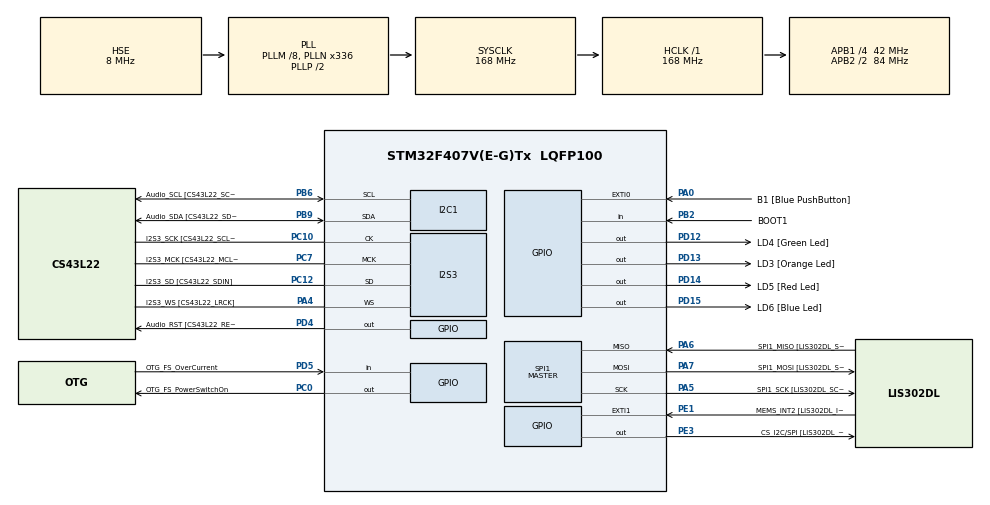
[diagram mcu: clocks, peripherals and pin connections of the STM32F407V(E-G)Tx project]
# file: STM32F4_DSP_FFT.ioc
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Dma.Request0=SPI3_TX
Dma.SPI3_TX.0.Direction=DMA_MEMORY_TO_PERIPH
Dma.SPI3_TX.0.FIFOMode=DMA_FIFOMODE_DISABLE
Dma.SPI3_TX.0.Instance=DMA1_Stream5
Dma.SPI3_TX.0.MemDataAlignment=DMA_MDATAALIGN_HALFWORD
Dma.SPI3_TX.0.MemInc=DMA_MINC_ENABLE
Dma.SPI3_TX.0.Mode=DMA_NORMAL
Dma.SPI3_TX.0.PeriphDataAlignment=DMA_PDATAALIGN_HALFWORD
Dma.SPI3_TX.0.PeriphInc=DMA_PINC_DISABLE
Dma.SPI3_TX.0.Priority=DMA_PRIORITY_HIGH
I2S3.AudioFreq-Half_Duplex_Master=I2S_AUDIOFREQ_96K
I2S3.ErrorAudioFreq=-2.34 %
I2S3.ErrorAudioFreq-Half_Duplex_Master=0.8 %
I2S3.FullDuplexMode=I2S_FULLDUPLEXMODE_DISABLE
I2S3.Instance=SPI$Index
I2S3.RealAudioFreq=93.75 KHz
I2S3.RealAudioFreq-Half_Duplex_Master=96.774 KHz
I2S3.VirtualMode=I2S_MODE_MASTER
Mcu.Family=STM32F4
Mcu.Name=STM32F407V(E-G)Tx
Mcu.Package=LQFP100
NVIC.DMA1_Stream5_IRQn=true\:0\:0\:false\:false\:true\:false\:true
NVIC.PriorityGroup=NVIC_PRIORITYGROUP_0
PA0-WKUP.GPIO_Label=B1 [Blue PushButton]
PA0-WKUP.GPIO_ModeDefaultEXTI=GPIO_MODE_EVT_RISING
PA0-WKUP.GPIO_PuPd=GPIO_NOPULL
PA0-WKUP.Signal=GPXTI0
PA10.GPIO_Label=OTG_FS_ID
PA10.GPIO_Mode=GPIO_MODE_AF_PP
PA10.GPIO_PuPd=GPIO_NOPULL
PA10.GPIO_Speed=GPIO_SPEED_FREQ_LOW
PA10.Signal=USB_OTG_FS_ID
PA11.GPIO_Label=OTG_FS_DM
PA11.GPIO_Mode=GPIO_MODE_AF_PP
PA11.GPIO_PuPd=GPIO_NOPULL
PA11.GPIO_Speed=GPIO_SPEED_FREQ_LOW
PA11.Signal=USB_OTG_FS_DM
PA12.GPIO_Label=OTG_FS_DP
PA12.GPIO_Mode=GPIO_MODE_AF_PP
PA12.GPIO_PuPd=GPIO_NOPULL
PA12.GPIO_Speed=GPIO_SPEED_FREQ_LOW
PA12.Signal=USB_OTG_FS_DP
PA13.GPIO_Label=SWDIO
PA13.Mode=Serial_Wire
PA13.Signal=SYS_JTMS-SWDIO
PA14.GPIO_Label=SWCLK
PA14.Mode=Serial_Wire
PA14.Signal=SYS_JTCK-SWCLK
PA4.GPIO_Label=I2S3_WS [CS43L22_LRCK]
PA4.GPIO_Mode=GPIO_MODE_AF_PP
PA4.GPIO_PuPd=GPIO_NOPULL
PA4.GPIO_Speed=GPIO_SPEED_FREQ_LOW
PA4.Mode=Half_Duplex_Master
PA4.Signal=I2S3_WS
PA5.GPIO_Label=SPI1_SCK [LIS302DL_SCL/SPC]
PA5.GPIO_Mode=GPIO_MODE_AF_PP
PA5.GPIO_PuPd=GPIO_NOPULL
PA5.GPIO_Speed=GPIO_SPEED_FREQ_LOW
PA5.Mode=Full_Duplex_Master
PA5.Signal=SPI1_SCK
PA6.GPIO_Label=SPI1_MISO [LIS302DL_SDO]
PA6.GPIO_Mode=GPIO_MODE_AF_PP
PA6.GPIO_PuPd=GPIO_NOPULL
PA6.GPIO_Speed=GPIO_SPEED_FREQ_LOW
PA6.Mode=Full_Duplex_Master
PA6.Signal=SPI1_MISO
PA7.GPIO_Label=SPI1_MOSI [LIS302DL_SDA/SDI/SDO]
PA7.GPIO_Mode=GPIO_MODE_AF_PP
PA7.GPIO_PuPd=GPIO_NOPULL
PA7.GPIO_Speed=GPIO_SPEED_FREQ_LOW
PA7.Mode=Full_Duplex_Master
PA7.Signal=SPI1_MOSI
PA9.GPIO_Label=VBUS_FS
PA9.GPIO_Mode=GPIO_MODE_INPUT
PA9.GPIO_PuPd=GPIO_NOPULL
PA9.Signal=USB_OTG_FS_VBUS
PB10.GPIO_Label=CLK_IN [MP45DT02_CLK]
PB10.GPIO_Mode=GPIO_MODE_AF_PP
PB10.GPIO_PuPd=GPIO_NOPULL
PB10.GPIO_Speed=GPIO_SPEED_FREQ_LOW
PB10.Signal=I2S2_CK
PB2.GPIO_Label=BOOT1
PB2.GPIO_Mode=GPIO_MODE_INPUT
PB2.GPIO_PuPd=GPIO_NOPULL
PB2.Signal=GPIO_Input
PB3.GPIO_Label=SWO
PB3.Signal=SYS_JTDO-SWO
PB6.GPIO_Label=Audio_SCL [CS43L22_SCL]
PB6.GPIO_Mode=GPIO_MODE_AF_OD
PB6.GPIO_Pu=GPIO_PULLUP
PB6.GPIO_PuPd=GPIO_NOPULL
PB6.GPIO_Speed=GPIO_SPEED_FREQ_LOW
PB6.Mode=I2C
PB6.Signal=I2C1_SCL
PB9.GPIO_Label=Audio_SDA [CS43L22_SDA]
PB9.GPIO_Mode=GPIO_MODE_AF_OD
PB9.GPIO_Pu=GPIO_PULLUP
PB9.GPIO_PuPd=GPIO_NOPULL
PB9.GPIO_Speed=GPIO_SPEED_FREQ_LOW
PB9.Mode=I2C
PB9.Signal=I2C1_SDA
PC0.GPIO_Label=OTG_FS_PowerSwitchOn
PC0.GPIO_PuPd=GPIO_NOPULL
PC0.GPIO_Speed=GPIO_SPEED_FREQ_LOW
PC0.PinState=GPIO_PIN_SET
PC0.Signal=GPIO_Output
PC10.GPIO_Label=I2S3_SCK [CS43L22_SCLK]
PC10.GPIO_Mode=GPIO_MODE_AF_PP
PC10.GPIO_PuPd=GPIO_NOPULL
PC10.GPIO_Speed=GPIO_SPEED_FREQ_LOW
PC10.Mode=Half_Duplex_Master
PC10.Signal=I2S3_CK
PC12.GPIO_Label=I2S3_SD [CS43L22_SDIN]
PC12.GPIO_Mode=GPIO_MODE_AF_PP
PC12.GPIO_PuPd=GPIO_NOPULL
PC12.GPIO_Speed=GPIO_SPEED_FREQ_LOW
PC12.Mode=Half_Duplex_Master
PC12.Signal=I2S3_SD
PC14-OSC32_IN.GPIO_Label=PC14-OSC32_IN
PC14-OSC32_IN.Mode=LSE-External-Oscillator
PC14-OSC32_IN.Signal=RCC_OSC32_IN
PC15-OSC32_OUT.GPIO_Label=PC15-OSC32_OUT
PC15-OSC32_OUT.Mode=LSE-External-Oscillator
PC15-OSC32_OUT.Signal=RCC_OSC32_OUT
PC3.GPIO_Label=PDM_OUT [MP45DT02_DOUT]
PC3.GPIO_Mode=GPIO_MODE_AF_PP
PC3.GPIO_PuPd=GPIO_NOPULL
PC3.GPIO_Speed=GPIO_SPEED_FREQ_LOW
PC3.Signal=I2S2_SD
PC7.GPIO_Label=I2S3_MCK [CS43L22_MCLK]
PC7.GPIO_Mode=GPIO_MODE_AF_PP
PC7.GPIO_PuPd=GPIO_NOPULL
PC7.GPIO_Speed=GPIO_SPEED_FREQ_LOW
PC7.Mode=Master_Clock_Activated
PC7.Signal=I2S3_MCK
PD12.GPIO_Label=LD4 [Green Led]
PD12.GPIO_PuPd=GPIO_NOPULL
PD12.GPIO_Speed=GPIO_SPEED_FREQ_LOW
PD12.Signal=GPIO_Output
PD13.GPIO_Label=LD3 [Orange Led]
PD13.GPIO_PuPd=GPIO_NOPULL
PD13.GPIO_Speed=GPIO_SPEED_FREQ_LOW
PD13.Signal=GPIO_Output
PD14.GPIO_Label=LD5 [Red Led]
PD14.GPIO_PuPd=GPIO_NOPULL
PD14.GPIO_Speed=GPIO_SPEED_FREQ_LOW
PD14.Signal=GPIO_Output
PD15.GPIO_Label=LD6 [Blue Led]
PD15.GPIO_PuPd=GPIO_NOPULL
PD15.GPIO_Speed=GPIO_SPEED_FREQ_LOW
PD15.Signal=GPIO_Output
PD4.GPIO_Label=Audio_RST [CS43L22_RESET]
PD4.GPIO_PuPd=GPIO_NOPULL
PD4.GPIO_Speed=GPIO_SPEED_FREQ_LOW
PD4.Signal=GPIO_Output
PD5.GPIO_Label=OTG_FS_OverCurrent
PD5.GPIO_Mode=GPIO_MODE_INPUT
PD5.GPIO_PuPd=GPIO_NOPULL
PD5.Signal=GPIO_Input
PE1.GPIO_Label=MEMS_INT2 [LIS302DL_INT2]
PE1.GPIO_ModeDefaultEXTI=GPIO_MODE_EVT_RISING
PE1.GPIO_PuPd=GPIO_NOPULL
PE1.Signal=GPXTI1
PE3.GPIO_Label=CS_I2C/SPI [LIS302DL_CS_I2C/SPI]
PE3.GPIO_PuPd=GPIO_NOPULL
PE3.GPIO_Speed=GPIO_SPEED_FREQ_LOW
PE3.Signal=GPIO_Output
PH0-OSC_IN.GPIO_Label=PH0-OSC_IN
PH0-OSC_IN.Mode=HSE-External-Oscillator
PH0-OSC_IN.Signal=RCC_OSC_IN
PH1-OSC_OUT.GPIO_Label=PH1-OSC_OUT
PH1-OSC_OUT.Mode=HSE-External-Oscillator
PH1-OSC_OUT.Signal=RCC_OSC_OUT
ProjectManager.HeapSize=0x200
ProjectManager.StackSize=0x400
ProjectManager.TargetToolchain=STM32CubeIDE
RCC.48MHZClocksFreq_Value=48000000
RCC.AHBFreq_Value=168000000
RCC.APB1CLKDivider=RCC_HCLK_DIV4
RCC.APB1Freq_Value=42000000
RCC.APB1TimFreq_Value=84000000
RCC.APB2CLKDivider=RCC_HCLK_DIV2
RCC.APB2Freq_Value=84000000
RCC.APB2TimFreq_Value=168000000
RCC.CortexFreq_Value=168000000
RCC.HCLKFreq_Value=168000000
RCC.HSE_VALUE=8000000
RCC.HSI_VALUE=16000000
RCC.PLLM=8
RCC.PLLN=336
RCC.PLLQ=7
RCC.PLLSourceVirtual=RCC_PLLSOURCE_HSE
RCC.SYSCLKFreq_VALUE=168000000
RCC.SYSCLKSource=RCC_SYSCLKSOURCE_PLLCLK
RCC.VCOOutputFreq_Value=336000000
SPI1.BaudRatePrescaler-Full_Duplex_Master=SPI_BAUDRATEPRESCALER_2
SPI1.CalculateBaudRate-Full_Duplex_Master=42.0 MBits/s
SPI1.Direction=SPI_DIRECTION_2LINES
SPI1.Mode=SPI_MODE_MASTER
SPI1.Mode-Full_Duplex_Master=SPI_MODE_MASTER
SPI1.VirtualType=VM_MASTER
board=STM32F407G-DISC1

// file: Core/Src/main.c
/* USER CODE BEGIN Header */
/**
  ******************************************************************************
  * @file           : main.c
  * @brief          : Main program body
  ******************************************************************************
  * @attention
  *
  * <h2><center>&copy; Copyright (c) 2021 STMicroelectronics.
  * All rights reserved.</center></h2>
  *
  * This software component is licensed by ST under Ultimate Liberty license
  * SLA0044, the "License"; You may not use this file except in compliance with
  * the License. You may obtain a copy of the License at:
  *                             www.st.com/SLA0044
  *
  ******************************************************************************
  */
/* USER CODE END Header */
#include "main.h"

/* USER CODE BEGIN Includes */
#include "arm_math.h"
#include "stm32f4_discovery_audio.h"

/* USER CODE END Includes */

/* USER CODE BEGIN PD */
#define SAMPLING_FREQ 16000		//BSP_audio_out sampling frequency
#define SAMPLES_QTY 128			//Signal buffer for one channel

#define FREQUENCY 1000.0		//Frequency to generate

/* USER CODE END PD */

I2C_HandleTypeDef hi2c1;

I2S_HandleTypeDef hi2s3;
DMA_HandleTypeDef hdma_spi3_tx;

SPI_HandleTypeDef hspi1;

/* USER CODE BEGIN PV */
static int16_t OutputBuffer[SAMPLES_QTY*2];	//Output, left+right channels
float32_t	InputArray[SAMPLES_QTY];		//Input array for generated signal

arm_rfft_fast_instance_f32 rFFT_S;			//Instance structure for the floating-point RFFT/RIFFT function
float32_t 	FFTOutputArray[SAMPLES_QTY];	//FFT array
float32_t	FFTMagnitude[SAMPLES_QTY/2];	//FFT magnitude array
float32_t	FFTRePart[SAMPLES_QTY/2];
float32_t	FFTImPart[SAMPLES_QTY/2];
float32_t	FFTPhase[SAMPLES_QTY/2];
float32_t	FFTPhase_masked[SAMPLES_QTY/2];
float32_t	OutputSignalArray[SAMPLES_QTY];	//Signal array after inverse FFT

float32_t generateChirp(float32_t w1, float32_t w2, float32_t A, float32_t M, float32_t time)
{
	float32_t res;
    res=A*cos(w1*time+(w2-w1)*time*time/(2*M));
    return res;
}

void countInit(void) {
    // Configure the DWT cycle counter
    if (!(CoreDebug->DEMCR & CoreDebug_DEMCR_TRCENA_Msk)) {
        CoreDebug->DEMCR |= CoreDebug_DEMCR_TRCENA_Msk;
        DWT->CYCCNT = 0;
    }
}

/* USER CODE END PV */

void SystemClock_Config(void);
static void MX_GPIO_Init(void);
static void MX_I2C1_Init(void);
static void MX_I2S3_Init(void);
static void MX_DMA_Init(void);
static void MX_SPI1_Init(void);

/* USER CODE BEGIN PFP */
void FFT_calculation(void);
void FFT_filtering(void);

/* USER CODE END PFP */

int main(void)
{

  /* MCU Configuration--------------------------------------------------------*/

  /* Reset of all peripherals, Initializes the Flash interface and the Systick. */
  HAL_Init();

  /* Configure the system clock */
  SystemClock_Config();

  /* Initialize all configured peripherals */
  MX_GPIO_Init();
  MX_I2C1_Init();
  MX_I2S3_Init();
  MX_DMA_Init();
  MX_SPI1_Init();
  /* USER CODE BEGIN 2 */

  		if(BSP_AUDIO_OUT_Init(OUTPUT_DEVICE_AUTO, 80, SAMPLING_FREQ) != AUDIO_OK)
        {
          	Error_Handler();
        }

  		/*** Test Signal generation ***/
  		for(int index = 0; index < SAMPLES_QTY; index++)
  		{
//  		  	//Test signal 1000 Hz + 3000 Hz + 5000 Hz
//  			InputArray[index] = ( 20000*sin((FREQUENCY/SAMPLING_FREQ)*2*PI*index)
//  			  + 10000*sin(3*(FREQUENCY/SAMPLING_FREQ)*2*PI*index)
//  			  + 30000*sin(5*(FREQUENCY/SAMPLING_FREQ)*2*PI*index)
//  			);

  			float32_t w1 = (FREQUENCY/SAMPLING_FREQ)*2*PI;
  			float32_t w2 = 3*(FREQUENCY/SAMPLING_FREQ)*2*PI;
  			double M = SAMPLES_QTY;
  				//float32_t generateChirp(float32_t w1, float32_t w2, float32_t A, float32_t M, float32_t time)
  			InputArray[index] = generateChirp(w1, w2, 3000, M, index);

  		}

  		/*** FFT related functions ***/
  		FFT_calculation();
  		//FFT_filtering();

  		/*** Fill Output Buffer ***/
  		for(int i = 0; i < SAMPLES_QTY; i++)
  		{
  			OutputBuffer[i<<1] = (int16_t)InputArray[i];
  			OutputBuffer[(i<<1)+1] = (int16_t)InputArray[i];
  		}

  		/*** Start Audio play ***/
  		BSP_AUDIO_OUT_Play((uint16_t*)&OutputBuffer[0], SAMPLES_QTY*2);

  /* USER CODE END 2 */

  /* Infinite loop */
  /* USER CODE BEGIN WHILE */
  while (1)
  {
	  HAL_GPIO_TogglePin(LD4_GPIO_Port, LD4_Pin);
	  HAL_Delay(250);
    /* USER CODE END WHILE */

  }
}

void SystemClock_Config(void)
{
  RCC_OscInitTypeDef RCC_OscInitStruct = {0};
  RCC_ClkInitTypeDef RCC_ClkInitStruct = {0};

  /** Configure the main internal regulator output voltage
  */
  __HAL_RCC_PWR_CLK_ENABLE();
  __HAL_PWR_VOLTAGESCALING_CONFIG(PWR_REGULATOR_VOLTAGE_SCALE1);
  /** Initializes the RCC Oscillators according to the specified parameters
  * in the RCC_OscInitTypeDef structure.
  */
  RCC_OscInitStruct.OscillatorType = RCC_OSCILLATORTYPE_HSE;
  RCC_OscInitStruct.HSEState = RCC_HSE_ON;
  RCC_OscInitStruct.PLL.PLLState = RCC_PLL_ON;
  RCC_OscInitStruct.PLL.PLLSource = RCC_PLLSOURCE_HSE;
  RCC_OscInitStruct.PLL.PLLM = 8;
  RCC_OscInitStruct.PLL.PLLN = 336;
  RCC_OscInitStruct.PLL.PLLP = RCC_PLLP_DIV2;
  RCC_OscInitStruct.PLL.PLLQ = 7;
  if (HAL_RCC_OscConfig(&RCC_OscInitStruct) != HAL_OK)
  {
    Error_Handler();
  }
  /** Initializes the CPU, AHB and APB buses clocks
  */
  RCC_ClkInitStruct.ClockType = RCC_CLOCKTYPE_HCLK|RCC_CLOCKTYPE_SYSCLK
                              |RCC_CLOCKTYPE_PCLK1|RCC_CLOCKTYPE_PCLK2;
  RCC_ClkInitStruct.SYSCLKSource = RCC_SYSCLKSOURCE_PLLCLK;
  RCC_ClkInitStruct.AHBCLKDivider = RCC_SYSCLK_DIV1;
  RCC_ClkInitStruct.APB1CLKDivider = RCC_HCLK_DIV4;
  RCC_ClkInitStruct.APB2CLKDivider = RCC_HCLK_DIV2;

  if (HAL_RCC_ClockConfig(&RCC_ClkInitStruct, FLASH_LATENCY_5) != HAL_OK)
  {
    Error_Handler();
  }
}

static void MX_I2C1_Init(void)
{

  hi2c1.Instance = I2C1;
  hi2c1.Init.ClockSpeed = 100000;
  hi2c1.Init.DutyCycle = I2C_DUTYCYCLE_2;
  hi2c1.Init.OwnAddress1 = 0;
  hi2c1.Init.AddressingMode = I2C_ADDRESSINGMODE_7BIT;
  hi2c1.Init.DualAddressMode = I2C_DUALADDRESS_DISABLE;
  hi2c1.Init.OwnAddress2 = 0;
  hi2c1.Init.GeneralCallMode = I2C_GENERALCALL_DISABLE;
  hi2c1.Init.NoStretchMode = I2C_NOSTRETCH_DISABLE;
  if (HAL_I2C_Init(&hi2c1) != HAL_OK)
  {
    Error_Handler();
  }

}

static void MX_I2S3_Init(void)
{

  hi2s3.Instance = SPI3;
  hi2s3.Init.Mode = I2S_MODE_MASTER_TX;
  hi2s3.Init.Standard = I2S_STANDARD_PHILIPS;
  hi2s3.Init.DataFormat = I2S_DATAFORMAT_16B;
  hi2s3.Init.MCLKOutput = I2S_MCLKOUTPUT_ENABLE;
  hi2s3.Init.AudioFreq = I2S_AUDIOFREQ_96K;
  hi2s3.Init.CPOL = I2S_CPOL_LOW;
  hi2s3.Init.ClockSource = I2S_CLOCK_PLL;
  hi2s3.Init.FullDuplexMode = I2S_FULLDUPLEXMODE_DISABLE;
  if (HAL_I2S_Init(&hi2s3) != HAL_OK)
  {
    Error_Handler();
  }

}

static void MX_SPI1_Init(void)
{

  /* SPI1 parameter configuration*/
  hspi1.Instance = SPI1;
  hspi1.Init.Mode = SPI_MODE_MASTER;
  hspi1.Init.Direction = SPI_DIRECTION_2LINES;
  hspi1.Init.DataSize = SPI_DATASIZE_8BIT;
  hspi1.Init.CLKPolarity = SPI_POLARITY_LOW;
  hspi1.Init.CLKPhase = SPI_PHASE_1EDGE;
  hspi1.Init.NSS = SPI_NSS_SOFT;
  hspi1.Init.BaudRatePrescaler = SPI_BAUDRATEPRESCALER_2;
  hspi1.Init.FirstBit = SPI_FIRSTBIT_MSB;
  hspi1.Init.TIMode = SPI_TIMODE_DISABLE;
  hspi1.Init.CRCCalculation = SPI_CRCCALCULATION_DISABLE;
  hspi1.Init.CRCPolynomial = 10;
  if (HAL_SPI_Init(&hspi1) != HAL_OK)
  {
    Error_Handler();
  }

}

static void MX_DMA_Init(void)
{

  /* DMA controller clock enable */
  __HAL_RCC_DMA1_CLK_ENABLE();

  /* DMA interrupt init */
  /* DMA1_Stream5_IRQn interrupt configuration */
  HAL_NVIC_SetPriority(DMA1_Stream5_IRQn, 0, 0);
  HAL_NVIC_EnableIRQ(DMA1_Stream5_IRQn);

}

static void MX_GPIO_Init(void)
{
  GPIO_InitTypeDef GPIO_InitStruct = {0};

  /* GPIO Ports Clock Enable */
  __HAL_RCC_GPIOE_CLK_ENABLE();
  __HAL_RCC_GPIOC_CLK_ENABLE();
  __HAL_RCC_GPIOH_CLK_ENABLE();
  __HAL_RCC_GPIOA_CLK_ENABLE();
  __HAL_RCC_GPIOB_CLK_ENABLE();
  __HAL_RCC_GPIOD_CLK_ENABLE();

  /*Configure GPIO pin Output Level */
  HAL_GPIO_WritePin(CS_I2C_SPI_GPIO_Port, CS_I2C_SPI_Pin, GPIO_PIN_RESET);

  /*Configure GPIO pin Output Level */
  HAL_GPIO_WritePin(OTG_FS_PowerSwitchOn_GPIO_Port, OTG_FS_PowerSwitchOn_Pin, GPIO_PIN_SET);

  /*Configure GPIO pin Output Level */
  HAL_GPIO_WritePin(GPIOD, LD4_Pin|LD3_Pin|LD5_Pin|LD6_Pin
                          |Audio_RST_Pin, GPIO_PIN_RESET);

  /*Configure GPIO pin : CS_I2C_SPI_Pin */
  GPIO_InitStruct.Pin = CS_I2C_SPI_Pin;
  GPIO_InitStruct.Mode = GPIO_MODE_OUTPUT_PP;
  GPIO_InitStruct.Pull = GPIO_NOPULL;
  GPIO_InitStruct.Speed = GPIO_SPEED_FREQ_LOW;
  HAL_GPIO_Init(CS_I2C_SPI_GPIO_Port, &GPIO_InitStruct);

  /*Configure GPIO pin : OTG_FS_PowerSwitchOn_Pin */
  GPIO_InitStruct.Pin = OTG_FS_PowerSwitchOn_Pin;
  GPIO_InitStruct.Mode = GPIO_MODE_OUTPUT_PP;
  GPIO_InitStruct.Pull = GPIO_NOPULL;
  GPIO_InitStruct.Speed = GPIO_SPEED_FREQ_LOW;
  HAL_GPIO_Init(OTG_FS_PowerSwitchOn_GPIO_Port, &GPIO_InitStruct);

  /*Configure GPIO pin : PDM_OUT_Pin */
  GPIO_InitStruct.Pin = PDM_OUT_Pin;
  GPIO_InitStruct.Mode = GPIO_MODE_AF_PP;
  GPIO_InitStruct.Pull = GPIO_NOPULL;
  GPIO_InitStruct.Speed = GPIO_SPEED_FREQ_LOW;
  GPIO_InitStruct.Alternate = GPIO_AF5_SPI2;
  HAL_GPIO_Init(PDM_OUT_GPIO_Port, &GPIO_InitStruct);

  /*Configure GPIO pin : B1_Pin */
  GPIO_InitStruct.Pin = B1_Pin;
  GPIO_InitStruct.Mode = GPIO_MODE_EVT_RISING;
  GPIO_InitStruct.Pull = GPIO_NOPULL;
  HAL_GPIO_Init(B1_GPIO_Port, &GPIO_InitStruct);

  /*Configure GPIO pin : BOOT1_Pin */
  GPIO_InitStruct.Pin = BOOT1_Pin;
  GPIO_InitStruct.Mode = GPIO_MODE_INPUT;
  GPIO_InitStruct.Pull = GPIO_NOPULL;
  HAL_GPIO_Init(BOOT1_GPIO_Port, &GPIO_InitStruct);

  /*Configure GPIO pin : CLK_IN_Pin */
  GPIO_InitStruct.Pin = CLK_IN_Pin;
  GPIO_InitStruct.Mode = GPIO_MODE_AF_PP;
  GPIO_InitStruct.Pull = GPIO_NOPULL;
  GPIO_InitStruct.Speed = GPIO_SPEED_FREQ_LOW;
  GPIO_InitStruct.Alternate = GPIO_AF5_SPI2;
  HAL_GPIO_Init(CLK_IN_GPIO_Port, &GPIO_InitStruct);

  /*Configure GPIO pins : LD4_Pin LD3_Pin LD5_Pin LD6_Pin
                           Audio_RST_Pin */
  GPIO_InitStruct.Pin = LD4_Pin|LD3_Pin|LD5_Pin|LD6_Pin
                          |Audio_RST_Pin;
  GPIO_InitStruct.Mode = GPIO_MODE_OUTPUT_PP;
  GPIO_InitStruct.Pull = GPIO_NOPULL;
  GPIO_InitStruct.Speed = GPIO_SPEED_FREQ_LOW;
  HAL_GPIO_Init(GPIOD, &GPIO_InitStruct);

  /*Configure GPIO pin : VBUS_FS_Pin */
  GPIO_InitStruct.Pin = VBUS_FS_Pin;
  GPIO_InitStruct.Mode = GPIO_MODE_INPUT;
  GPIO_InitStruct.Pull = GPIO_NOPULL;
  HAL_GPIO_Init(VBUS_FS_GPIO_Port, &GPIO_InitStruct);

  /*Configure GPIO pins : OTG_FS_ID_Pin OTG_FS_DM_Pin OTG_FS_DP_Pin */
  GPIO_InitStruct.Pin = OTG_FS_ID_Pin|OTG_FS_DM_Pin|OTG_FS_DP_Pin;
  GPIO_InitStruct.Mode = GPIO_MODE_AF_PP;
  GPIO_InitStruct.Pull = GPIO_NOPULL;
  GPIO_InitStruct.Speed = GPIO_SPEED_FREQ_LOW;
  GPIO_InitStruct.Alternate = GPIO_AF10_OTG_FS;
  HAL_GPIO_Init(GPIOA, &GPIO_InitStruct);

  /*Configure GPIO pin : OTG_FS_OverCurrent_Pin */
  GPIO_InitStruct.Pin = OTG_FS_OverCurrent_Pin;
  GPIO_InitStruct.Mode = GPIO_MODE_INPUT;
  GPIO_InitStruct.Pull = GPIO_NOPULL;
  HAL_GPIO_Init(OTG_FS_OverCurrent_GPIO_Port, &GPIO_InitStruct);

  /*Configure GPIO pin : MEMS_INT2_Pin */
  GPIO_InitStruct.Pin = MEMS_INT2_Pin;
  GPIO_InitStruct.Mode = GPIO_MODE_EVT_RISING;
  GPIO_InitStruct.Pull = GPIO_NOPULL;
  HAL_GPIO_Init(MEMS_INT2_GPIO_Port, &GPIO_InitStruct);

}

/* USER CODE BEGIN 4 */

void FFT_calculation(void)
{
	float32_t FFTMaxValue, threshold;
	uint32_t MaxIndex;

	//rFFT initialization. Supported FFT Lengths are 32, 64, 128, 256, 512, 1024, 2048, 4096.
	arm_rfft_fast_init_f32(&rFFT_S, SAMPLES_QTY);

	//rFFT process. 0 = RFFT, 1 = RIFFT
	arm_rfft_fast_f32(&rFFT_S, InputArray, FFTOutputArray, 0);	//direct FFT calculation
	FFTOutputArray[0] = 0; 										//DC

	//Calculate the Magnitude
	arm_cmplx_mag_f32(FFTOutputArray, FFTMagnitude, SAMPLES_QTY/2);

	//Phase calculation
	for(int i=0; i<SAMPLES_QTY/2; i++)
	{
		FFTRePart[i] = FFTOutputArray[2*i];
		FFTImPart[i] = FFTOutputArray[(2*i)+1];
		FFTPhase[i] = (atan(FFTImPart[i]/FFTRePart[i]))*180/PI;
	}

	//Find max value
	arm_max_f32(&FFTMagnitude, SAMPLES_QTY/2, &FFTMaxValue, &MaxIndex);

	//Mask out small values
	threshold = FFTMaxValue / 1000;
	for(int i=0; i<SAMPLES_QTY/2; i++)
	{
		if(fabs(FFTImPart[i])<threshold) FFTImPart[i] = 0;
	}

	//Phase calculation
	for(int i=0; i<SAMPLES_QTY/2; i++)
	{
		FFTPhase_masked[i] = (atan(FFTImPart[i]/FFTRePart[i]))*180/PI;
	}
}

#if 1 // max filter
void FFT_filtering(void)
{
	//rFFT initialization. Supported FFT Lengths are 32, 64, 128, 256, 512, 1024, 2048, 4096.
	arm_rfft_fast_init_f32(&rFFT_S, SAMPLES_QTY);

	//rFFT process. 0 = RFFT, 1 = RIFFT
	arm_rfft_fast_f32(&rFFT_S, InputArray, FFTOutputArray, 0);	//direct FFT calculation

	//Remove some frequencies
	for(int i=20; i<SAMPLES_QTY; i++)
		FFTOutputArray[i] = 0;

	//rFFT process. 0 = RFFT, 1 = RIFFT
		arm_rfft_fast_f32(&rFFT_S, FFTOutputArray, OutputSignalArray, 1);	//inverse FFT calculation
}

#else
void FFT_filtering(void)
{
	float32_t FFTMaxValue;
	uint32_t MaxIndex;
	//rFFT initialization. Supported FFT Lengths are 32, 64, 128, 256, 512, 1024, 2048, 4096.
	arm_rfft_fast_init_f32(&rFFT_S, SAMPLES_QTY);
	//rFFT process. 0 = RFFT, 1 = RIFFT
	arm_rfft_fast_f32(&rFFT_S, InputArray, FFTOutputArray, 0);//direct FFT calculation
	//Calculate the Magnitude
	arm_cmplx_mag_f32(FFTOutputArray, FFTMagnitude, SAMPLES_QTY/2);
	//Find max value
	arm_max_f32(&FFTMagnitude, SAMPLES_QTY/2, &FFTMaxValue, &MaxIndex);
	//Removing frequencies
	for(int i=0; i<SAMPLES_QTY; i++)
		{
		if(i != (MaxIndex*2)+1)
			FFTOutputArray[i] = 0;
		}
	//Calculate the Magnitude
	arm_cmplx_mag_f32(FFTOutputArray, FFTMagnitude, SAMPLES_QTY/2);
	//rFFT process. 0 = RFFT, 1 = RIFFT
	arm_rfft_fast_f32(&rFFT_S, FFTOutputArray, OutputSignalArray, 1); //inverse FFT calculation
}

#endif

/*** Back to Buffer beginning ***/
	void BSP_AUDIO_OUT_TransferComplete_CallBack(void)
	{
		BSP_AUDIO_OUT_ChangeBuffer((uint16_t*)&OutputBuffer[0], SAMPLES_QTY*2);
		HAL_GPIO_TogglePin(LD3_GPIO_Port, LD3_Pin);
	}

/* USER CODE END 4 */

void Error_Handler(void)
{
  __disable_irq();
  while (1)
  {
  }
}

/************************ (C) COPYRIGHT STMicroelectronics *****END OF FILE****/
